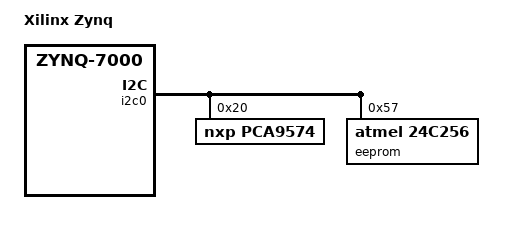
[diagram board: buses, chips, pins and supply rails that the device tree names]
/*
* Copyright (C) 2013-2019 D-TACQ Solutions Ltd - http://www.d-tacq.com/
*
* This program is free software; you can redistribute it and/or modify
* it under the terms of the GNU General Public License version 2 as
* published by the Free Software Foundation.
*/

/dts-v1/;

#include "acq400_common.dtsi"

&qspi {
	is-dual = <1>;
	xlnx,qspi-mode = <0x2>;
};

/ {
       compatible = "xlnx,zynq-7000";
       model = "Xilinx Zynq";

       chosen {
	       bootargs = "console=ttyPS0,115200 root=/dev/ram rw earlyprintk";
	       linux,stdout-path = "/amba@0/serial@e0001000";
	       build="$DATE";	
	       descr="device tree for z7io Backplane Ethernet - AMC with Z7030, TWO ELF SITES, adds MGT482 comms module, SPI";
	       model="z7io";
	       compatible_model="z7io";				
       };
};


&amba {
	sitec: acq2006sc@40000000 {
		reg = <0x40000000 0x10000>;
		compatible = "D-TACQ,acq2006sc";
		site = <0x0>;
		/* potential sc interrupt .. not assigned for now 
		interrupts = <0x0 32 0x0>;
		interrupt-parent = <0x1>;			
		*/		
	};
	site1: acq400fmc@40010000 {
		compatible = "D-TACQ,acq400fmc";
		reg = <0x40010000 0x10000>;
		interrupts = <0x0 59 0x4>; 
		interrupt-parent = <&intc>;
		site = <0x1>;
	};
	site2: acq400fmc@40020000 {
		compatible = "D-TACQ,acq400fmc";
		reg = <0x40020000 0x10000>;
		interrupts = <0x0 57 0x4>;
		interrupt-parent = <0x1>;
		site = <0x2>;
	};
	site3: acq400fmc@40030000 {
		compatible = "D-TACQ,acq400fmc";
		reg = <0x40030000 0x10000>;
		interrupts = <0x0 55 0x4>;
		interrupt-parent = <0x1>;
		site = <0x3>;
	};

	cpld_spi: axi_quad_spi@40061000 {		
		status = "disabled";
		label = "pgmwashere";		
		
		compatible = "xlnx,xps-spi-2.00.a";
		reg = <0x40061000 0x1000>;
		interrupts = <0x00 0x24 0x01>;
		interrupt-names = "ip2intc";
		interrupt-parent = <0x1>;
		fifo-size = <0x10>;
		
		num-cs = <0x01>;
		bits-per-word = <0x08>;
		clock-names = "ext_spi_clk\0s_axi_aclk";
		clocks = <0x01 0x0f 0x01 0x0f>;
		
		xlnx,num-ss-bits = <0x01>;
		xlnx,spi-mode = <0x00>;
		
		#address-cells = <1>;
		#size-cells = <0>;
		
		spidev@0 {
			compatible = "spidev";			
			reg = <0>;
			spi-max-frequency = <25000000>;
		};
	};


	/*
	axi_quad_spi@40061000 {
		
		bits-per-word = <0x08>;
					
		clock-names = "ext_spi_clk\0s_axi_aclk";
		clocks = <0x01 0x0f 0x01 0x0f>;
		compatible = "xlnx,axi-quad-spi-3.2\0xlnx,xps-spi-2.00.a";
		fifo-size = <0x10>;
		interrupt-names = "ip2intc_irpt";
		interrupt-parent = <0x04>;
		interrupts = <0x00 0x34 0x01>;
		num-cs = <0x01>;
					
		reg = <0x40061000 0x1000>;
		xlnx,num-ss-bits = <0x01>;
		xlnx,spi-mode = <0x00>;
	
		spidev@0 {
			compatible = "spidev";
			reg = <0x00>;
			spi-max-frequency = <25000000>;
		};
	
	};
	*/
	commsC: mgt400@400b0000 {
		compatible = "D-TACQ,mgt400";
		phys = "pcie";
		physid = <1>;
		reg = <0x400b0000 0x10000>;			
		/* interrupts = <0x0 58 0x4>; */
		interrupt-parent = <0x1>;
		site = <0xb>;
		sn = <2>;
	};

	iic_axi_iic_mmc: i2c@400e0000 {
		status = "disabled";
		#address-cells = <0x01>;
		#size-cells = <0x00>;
		clock-names = "s_axi_aclk";
		/*
		clocks = <0xffffffff 0x0f>;
		*/
		clocks = <&clkc 15>;
		compatible = "xlnx,xps-iic-2.00.a";
		interrupt-names = "iic2intc_irpt";
		interrupt-parent = <&intc>;
		interrupts = <0x00 0x22 0x04>;
		reg = <0x400e0000 0x1000>;
		phandle = <0x13>;

		mmcmailbox@2a {
				compatible = "desy,mmcmailbox";
				reg = <0x2a>;
		};
	};
};

&usb0 {
	 status = "disabled";
};
 


&i2c0 {	 
	 status = "okay";
	 
	 pca9574@20 {
		 compatible = "nxp,pca9574";
		 reg = <0x20>;
		 gpio-controller;
		 #gpio-cells = <0x02>;
		 phandle = <0x1b>;
	 };

	 eeprom@57 {
		 compatible = "atmel,24c256";
		 reg = <0x57>;
		 pagesize = <0x40>;
		 #address-cells = <0x01>;
		 #size-cells = <0x01>;
		 phandle = <0x1c>;

		 eth_mac@7f7a {
			 reg = <0x7f7a 0x06>;
			 phandle = <0x1d>;
		 };
	 };
 };

 &i2c1 {
	 status = "disabled";
	 i2c0sw73: i2cswitch@73 {
		 compatible = "nxp,pca9548";
		 #address-cells = <1>;
		 #size-cells = <0>;
		 reg = <0x73>;
		 
		 mb_i2c: i2c@0 {
			 #address-cells = <1>;
			 #size-cells = <0>;
			 reg = <0>;
			 
			 /* uRTM */
			 elves: gpio@21 {
				 compatible="nxp,pca9534";
				 reg=<0x21>;				
			 };
			 hwmon@28 {
				 compatible="ad,ad7417";
				 reg=<0x28>;
			 };
			 hwmon@29 {
				 compatible="ad,ad7417";
				 reg=<0x29>;
			 };			 
			 
		 };
 
		 elf1: i2c@1 {
			 #address-cells = <1>;
			 #size-cells = <0>;
			 reg = <0x1>;
	 
			 eeprom@50 {
				 compatible = "at,24c64";
				 reg = <0x51>;
			 };
			 hwmon@28 {
				 compatible="ad,ad7417";
				 reg=<0x29>;
			 };
		 };
		 elf2: i2c@2 {
			 #address-cells = <1>;
			 #size-cells = <0>;
			 reg = <0x2>;
		 
			 eeprom@50 {
				 compatible = "at,24c64";
				 reg = <0x52>;
			 };
			 hwmon@28 {
				 compatible="ad,ad7417";
				 reg=<0x2a>;
			 };
		 };
	 };	 
 };
